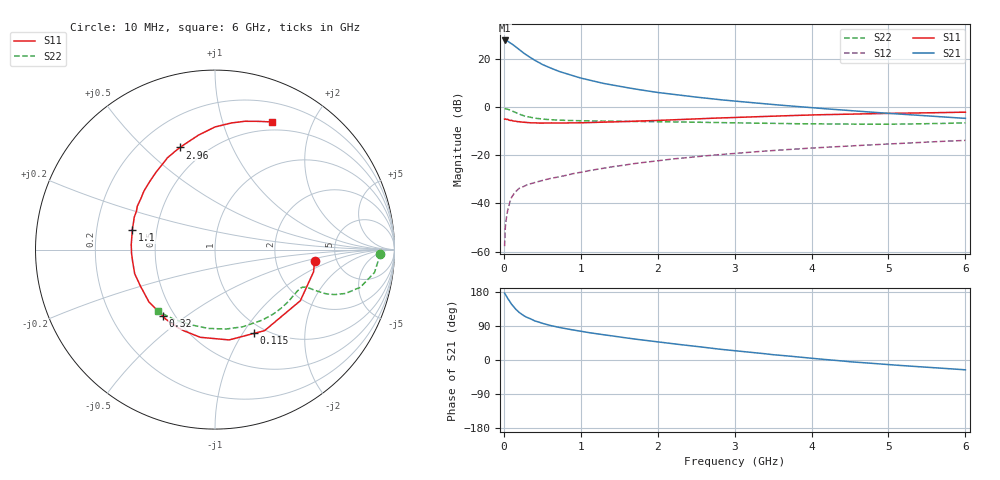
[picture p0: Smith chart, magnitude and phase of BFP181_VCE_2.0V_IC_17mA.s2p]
! Infineon Technologies  Discrete & RF Semiconductors
! BFP181
! VCE = 2.0 V,  IC =  17 mA
! Common Emitter S-Parameters:  Jan 2016
# GHz  S  MA  R  50
!  f  S11  S21  S12  S22
! GHz  MAG  ANG  MAG  ANG  MAG  ANG  MAG  ANG
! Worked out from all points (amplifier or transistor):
!   210 points, 10 MHz to 6 GHz, reference 50 ohm
!   highest |S21| = 27.6 dB at 10 MHz (marker M1)
!   |S21| within 3 dB of that: start of sweep to 169.1 MHz
!   unconditionally stable (mu >= 1): start of sweep to 15.2 MHz; 439 MHz to end of sweep
!   at 185 MHz: K = 0.56, MSG = 29.2 dB, |S12| = -34.2 dB
!   at 1.52 GHz: K = 1.59, MAG = 11.9 dB, |S12| = -24.3 dB
!   at 6 GHz: K = 1.22, MAG = 1.8 dB, |S12| = -13.9 dB
!   S11 on the Smith chart (normalised r, x): 10 MHz: 3.41, -0.62; 115 MHz: 0.89, -1.12; 320 MHz: 0.43, -0.41; 1.1 GHz: 0.36, +0.10; 2.96 GHz: 0.36, +0.65; 6 GHz: 0.40, +1.46
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0.01  0.5585 -6.4  23.85 176.4  0.0013 79.5  0.9222 -1.4
0.02  0.563 -12.7  23.8 173.2  0.0033 84.3  0.914 -3.2
0.05  0.5543 -30.9  23.06 162.4  0.0072 81.2  0.8978 -8.2
0.1  0.5293 -58.5  20.48 147.2  0.0133 64.5  0.8359 -14.6
0.115  0.515 -65.0  19.61 143.8  0.0145 62.2  0.8148 -15.7
0.15  0.5094 -81.1  17.86 134.8  0.0173 58.1  0.7669 -18.6
0.2  0.4955 -99.5  15.45 125.4  0.0206 53.9  0.7091 -20.7
0.26  0.4813 -115.8  12.99 116.9  0.0225 51.2  0.6559 -21.8
0.32  0.4707 -128.3  11.21 111.0  0.0248 50.0  0.6209 -22.0
0.4  0.4695 -141.7  9.298 103.3  0.0271 49.3  0.5859 -22.2
0.5  0.4625 -154.0  7.594 96.6  0.0298 49.3  0.5597 -22.3
0.6  0.4672 -163.3  6.475 91.2  0.0328 50.6  0.5435 -22.6
0.74  0.4638 -173.7  5.309 85.2  0.0362 51.7  0.5306 -23.3
1.02  0.4693 170.4  3.895 75.0  0.0447 54.0  0.5161 -26.0
1.1  0.474 166.5  3.628 72.3  0.0476 54.8  0.5132 -26.9
1.5  0.4958 150.8  2.672 60.7  0.06 55.1  0.5041 -32.3
2.02  0.5263 133.4  1.976 47.2  0.0774 53.4  0.4935 -40.7
2.96  0.6013 108.9  1.341 25.4  0.1076 47.9  0.4688 -58.4
3.1  0.6112 105.9  1.279 22.7  0.1121 46.9  0.4642 -61.3
4.1  0.688 88.5  0.938 2.7  0.1433 39.5  0.4439 -84.5
5.1  0.7378 75.7  0.719 -13.6  0.1737 31.5  0.4402 -110.1
6  0.7781 66.1  0.579 -25.9  0.2023 23.5  0.4676 -132.5
